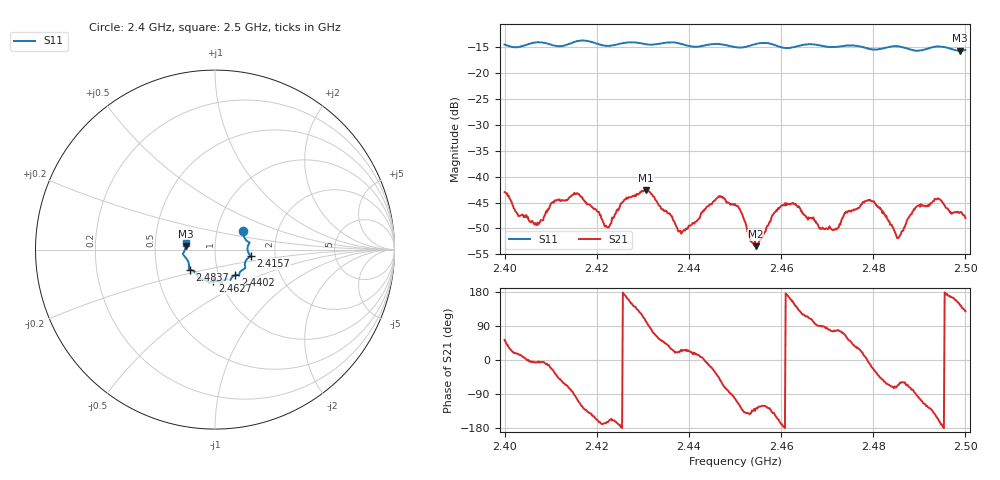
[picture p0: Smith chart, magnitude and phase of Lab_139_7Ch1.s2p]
# Hz S RI R 50
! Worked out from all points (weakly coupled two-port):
!   601 points, 2.4 GHz to 2.5 GHz, reference 50 ohm
!   highest |S21| = -42.58 dB at 2.4307 GHz (marker M1); lowest = -53.4 dB at 2.4545 GHz (marker M2)
!   lowest |S11| = -15.7 dB at 2.4988 GHz (marker M3), VSWR 1.39, Z = 36 + j1.32 ohm
!   |S11| at or under -10 dB: start of sweep to end of sweep
!   S12 and S22 are empty: the file has one direction only
!   S11 on the Smith chart (normalised r, x): 2.4 GHz: 1.33, +0.29; 2.4157 GHz: 1.49, -0.11; 2.4402 GHz: 1.20, -0.35; 2.4627 GHz: 0.92, -0.34; 2.4837 GHz: 0.74, -0.17; 2.5 GHz: 0.72, +0.05
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2.4e9  0.1557 0.1053  0.00427 0.00567  0 0  0 0
2.406833e9  0.1932 0.0395  0.0034 -0.000402  0 0  0 0
2.415667e9  0.1991 -0.0358  -0.00142 -0.00678  0 0  0 0
2.416667e9  0.2019 -0.0394  -0.00332 -0.00538  0 0  0 0
2.422333e9  0.1694 -0.0674  -0.00312 -0.000892  0 0  0 0
2.430667e9  0.1502 -0.1153  -0.00157 0.00727  0 0  0 0
2.433333e9  0.1358 -0.1337  0.00293 0.00461  0 0  0 0
2.438e9  0.1298 -0.142  0.00279 0.00109  0 0  0 0
2.440167e9  0.114 -0.1408  0.0031 0.00131  0 0  0 0
2.446333e9  0.0845 -0.1707  0.00458 -0.00434  0 0  0 0
2.45e9  0.0639 -0.1658  -0.00111 -0.00532  0 0  0 0
2.4545e9  0.0371 -0.1865  -0.00134 -0.00166  0 0  0 0
2.462667e9  -0.0115 -0.1769  -0.00478 0.00265  0 0  0 0
2.466667e9  -0.0328 -0.1863  -0.00112 0.00379  0 0  0 0
2.471667e9  -0.0642 -0.1657  0.000715 0.003  0 0  0 0
2.479e9  -0.1045 -0.1355  0.00593 -0.000683  0 0  0 0
2.483333e9  -0.1385 -0.1124  0.00153 -0.00339  0 0  0 0
2.483667e9  -0.1402 -0.1121  0.00131 -0.00317  0 0  0 0
2.4855e9  -0.1448 -0.1076  0.00106 -0.00235  0 0  0 0
2.493833e9  -0.178 -0.0265  -0.00537 -0.00284  0 0  0 0
2.498833e9  -0.1626 0.0179  -0.00368 0.00263  0 0  0 0
2.5e9  -0.1627 0.0364  -0.00247 0.00312  0 0  0 0
